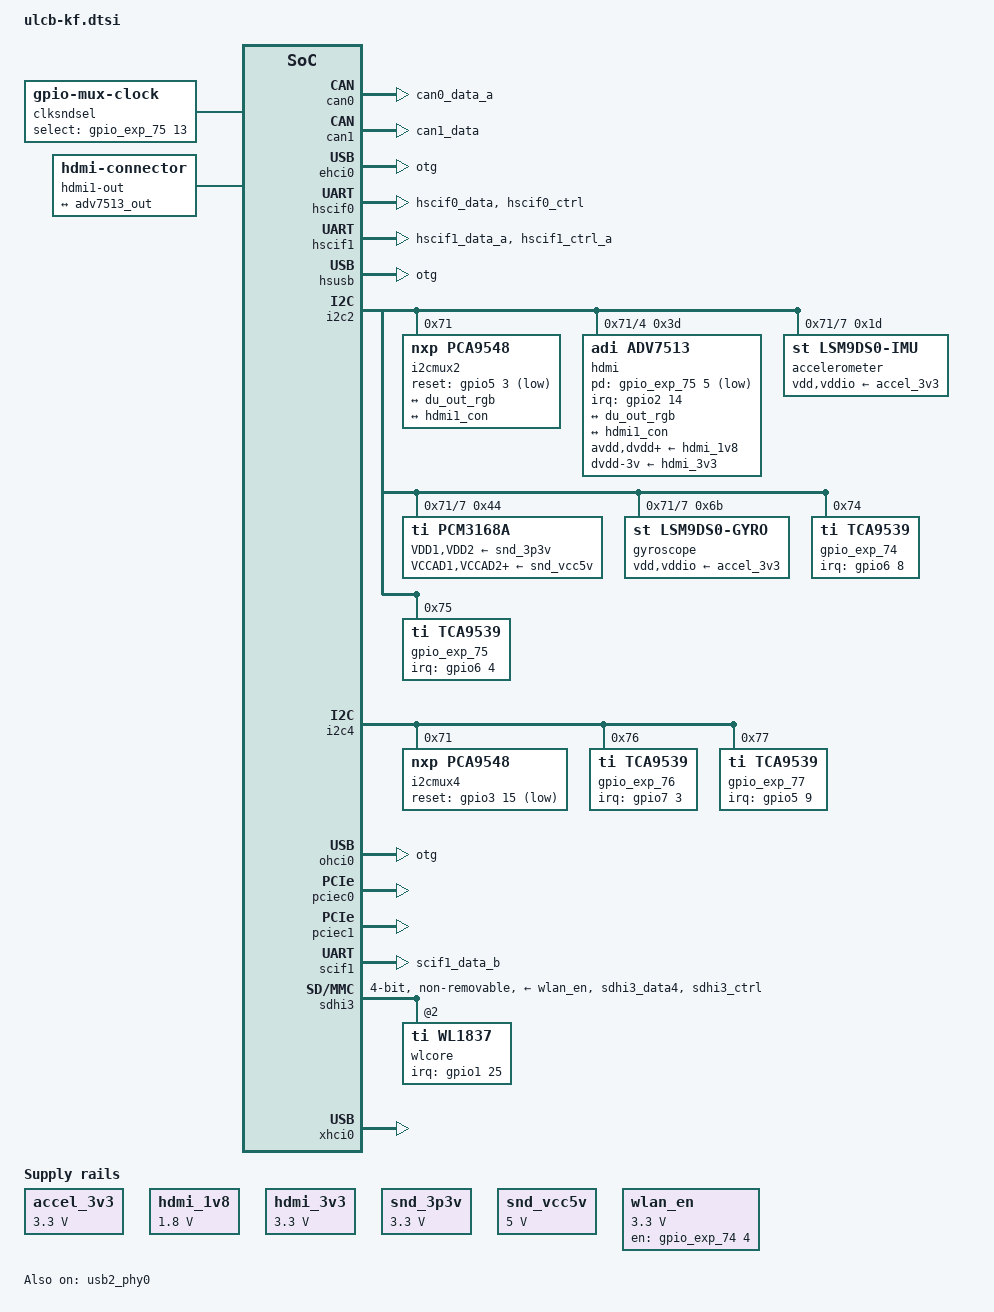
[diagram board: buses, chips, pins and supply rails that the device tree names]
// SPDX-License-Identifier: GPL-2.0
/*
 * Device Tree Source for the Kingfisher (ULCB extension) board
 *
 * Copyright (C) 2017 Renesas Electronics Corp.
 * Copyright (C) 2017 Cogent Embedded, Inc.
 */

/ {
	aliases {
		serial1 = &hscif0;
		serial2 = &scif1;
		serial3 = &hscif1;
		mmc2 = &sdhi3;
	};

	clksndsel: clksndsel {
		#clock-cells = <0>;
		compatible = "gpio-mux-clock";
		clocks = <&cs2000>, <&audio_clk_a>; /* clk8snd, clksnd */
		select-gpios = <&gpio_exp_75 13 GPIO_ACTIVE_HIGH>;
	};

	hdmi1-out {
		compatible = "hdmi-connector";
		type = "a";

		port {
			hdmi1_con: endpoint {
				remote-endpoint = <&adv7513_out>;
			};
		};
	};

	accel_3v3: regulator-acc-3v3 {
		compatible = "regulator-fixed";
		regulator-name = "accel-3v3";
		regulator-min-microvolt = <3300000>;
		regulator-max-microvolt = <3300000>;
	};

	hdmi_1v8: regulator-hdmi-1v8 {
		compatible = "regulator-fixed";
		regulator-name = "hdmi-1v8";
		regulator-min-microvolt = <1800000>;
		regulator-max-microvolt = <1800000>;
	};

	hdmi_3v3: regulator-hdmi-3v3 {
		compatible = "regulator-fixed";
		regulator-name = "hdmi-3v3";
		regulator-min-microvolt = <3300000>;
		regulator-max-microvolt = <3300000>;
	};

	snd_3p3v: regulator-snd_3p3v {
		compatible = "regulator-fixed";
		regulator-name = "snd-3.3v";
		regulator-min-microvolt = <3300000>;
		regulator-max-microvolt = <3300000>;
	};

	snd_vcc5v: regulator-snd_vcc5v {
		compatible = "regulator-fixed";
		regulator-name = "snd-vcc5v";
		regulator-min-microvolt = <5000000>;
		regulator-max-microvolt = <5000000>;
	};

	wlan_en: regulator-wlan_en {
		compatible = "regulator-fixed";
		regulator-name = "wlan-en-regulator";

		regulator-min-microvolt = <3300000>;
		regulator-max-microvolt = <3300000>;

		gpio = <&gpio_exp_74 4 GPIO_ACTIVE_HIGH>;
		startup-delay-us = <70000>;
		enable-active-high;
	};
};

&can0 {
	pinctrl-0 = <&can0_pins>;
	pinctrl-names = "default";
	status = "okay";
};

&can1 {
	pinctrl-0 = <&can1_pins>;
	pinctrl-names = "default";
	status = "okay";
};

&du {
	ports {
		port@0 {
			du_out_rgb: endpoint {
				remote-endpoint = <&adv7513_in>;
			};
		};
	};
};

&ehci0 {
	dr_mode = "otg";
	status = "okay";
};

&hscif0 {
	pinctrl-0 = <&hscif0_pins>;
	pinctrl-names = "default";
	uart-has-rtscts;

	status = "okay";
};

&hscif1 {
	pinctrl-0 = <&hscif1_pins>;
	pinctrl-names = "default";
	uart-has-rtscts;

	status = "okay";
};

&hsusb {
	dr_mode = "otg";
	status = "okay";
};

&i2c2 {
	i2cmux2: i2c-mux@71 {
		compatible = "nxp,pca9548";
		#address-cells = <1>;
		#size-cells = <0>;
		reg = <0x71>;
		reset-gpios = <&gpio5 3 GPIO_ACTIVE_LOW>;

		/* HDMIoSDA, HDMIoSCL */
		i2c@4 {
			#address-cells = <1>;
			#size-cells = <0>;
			reg = <4>;

			hdmi@3d {
				compatible = "adi,adv7513";
				reg = <0x3d>;

				pinctrl-0 = <&hdmi1_pins>;
				pinctrl-names = "default";

				interrupt-parent = <&gpio2>;
				interrupts = <14 IRQ_TYPE_LEVEL_LOW>;

				clocks = <&cs2000>;
				clock-names = "cec";

				pd-gpios = <&gpio_exp_75 5 GPIO_ACTIVE_LOW>;

				avdd-supply = <&hdmi_1v8>;
				dvdd-supply = <&hdmi_1v8>;
				pvdd-supply = <&hdmi_1v8>;
				dvdd-3v-supply = <&hdmi_3v3>;
				bgvdd-supply = <&hdmi_1v8>;

				adi,input-depth = <8>;
				adi,input-colorspace = "rgb";
				adi,input-clock = "1x";

				ports {
					#address-cells = <1>;
					#size-cells = <0>;

					port@0 {
						reg = <0>;
						adv7513_in: endpoint {
							remote-endpoint = <&du_out_rgb>;
						};
					};

					port@1 {
						reg = <1>;
						adv7513_out: endpoint {
							remote-endpoint = <&hdmi1_con>;
						};
					};
				};
			};
		};

		/* Audio_SDA, Audio_SCL */
		i2c@7 {
			#address-cells = <1>;
			#size-cells = <0>;
			reg = <7>;

			accelerometer@1d {
				compatible = "st,lsm9ds0-imu";
				reg = <0x1d>;

				vdd-supply = <&accel_3v3>;
				vddio-supply = <&accel_3v3>;
			};

			pcm3168a: audio-codec@44 {
				#sound-dai-cells = <0>;
				compatible = "ti,pcm3168a";
				reg = <0x44>;
				clocks = <&clksndsel>;
				clock-names = "scki";

				VDD1-supply = <&snd_3p3v>;
				VDD2-supply = <&snd_3p3v>;
				VCCAD1-supply = <&snd_vcc5v>;
				VCCAD2-supply = <&snd_vcc5v>;
				VCCDA1-supply = <&snd_vcc5v>;
				VCCDA2-supply = <&snd_vcc5v>;
			};

			gyroscope@6b {
				compatible = "st,lsm9ds0-gyro";
				reg = <0x6b>;

				vdd-supply = <&accel_3v3>;
				vddio-supply = <&accel_3v3>;
			};
		};
	};

	/* U11 */
	gpio_exp_74: gpio@74 {
		compatible = "ti,tca9539";
		reg = <0x74>;
		gpio-controller;
		#gpio-cells = <2>;
		interrupt-controller;
		interrupt-parent = <&gpio6>;
		interrupts = <8 IRQ_TYPE_EDGE_FALLING>;

		audio-out-off-hog {
			gpio-hog;
			gpios = <0 GPIO_ACTIVE_HIGH>; /* P00 */
			output-high;
			line-name = "Audio_Out_OFF";
		};

		hub-pwen-hog {
			gpio-hog;
			gpios = <6 GPIO_ACTIVE_HIGH>;
			output-high;
			line-name = "HUB pwen";
		};

		hub-rst-hog {
			gpio-hog;
			gpios = <7 GPIO_ACTIVE_HIGH>;
			output-high;
			line-name = "HUB rst";
		};

		otg-extlpn-hog {
			gpio-hog;
			gpios = <9 GPIO_ACTIVE_HIGH>;
			output-high;
			line-name = "OTG EXTLPn";
		};

		otg-offvbusn-hog {
			gpio-hog;
			gpios = <8 GPIO_ACTIVE_HIGH>;
			output-low;
			line-name = "OTG OFFVBUSn";
		};

		sd-wifi-mux-hog {
			gpio-hog;
			gpios = <5 GPIO_ACTIVE_HIGH>;
			output-low;	/* Connect WL1837 */
			line-name = "SD WiFi mux";
		};

		snd-rst-hog {
			gpio-hog;
			gpios = <15 GPIO_ACTIVE_HIGH>; /* P17 */
			output-high;
			line-name = "SND_RST";
		};
	};

	/* U5 */
	gpio_exp_75: gpio@75 {
		compatible = "ti,tca9539";
		reg = <0x75>;
		gpio-controller;
		#gpio-cells = <2>;
		interrupt-controller;
		interrupt-parent = <&gpio6>;
		interrupts = <4 IRQ_TYPE_EDGE_FALLING>;
	};
};

&i2c4 {
	i2cmux4: i2c-mux@71 {
		compatible = "nxp,pca9548";
		#address-cells = <1>;
		#size-cells = <0>;
		reg = <0x71>;
		reset-gpios = <&gpio3 15 GPIO_ACTIVE_LOW>;
	};

	gpio_exp_76: gpio@76 {
		compatible = "ti,tca9539";
		reg = <0x76>;
		gpio-controller;
		#gpio-cells = <2>;
		interrupt-controller;
		interrupt-parent = <&gpio7>;
		interrupts = <3 IRQ_TYPE_EDGE_FALLING>;
	};

	gpio_exp_77: gpio@77 {
		compatible = "ti,tca9539";
		reg = <0x77>;
		gpio-controller;
		#gpio-cells = <2>;
		interrupt-controller;
		interrupt-parent = <&gpio5>;
		interrupts = <9 IRQ_TYPE_EDGE_FALLING>;
	};
};

&ohci0 {
	dr_mode = "otg";
	status = "okay";
};

&pcie_bus_clk {
	clock-frequency = <100000000>;
};

&pciec0 {
	status = "okay";
};

&pciec1 {
	status = "okay";
};

&pfc {
	can0_pins: can0 {
		groups = "can0_data_a";
		function = "can0";
	};

	can1_pins: can1 {
		groups = "can1_data";
		function = "can1";
	};

	hdmi1_pins: hdmi1 {
		adv7513-interrupt {
			pins = "GP_2_14";
			bias-pull-up;
		};

		du {
			groups = "du_rgb888", "du_sync", "du_clk_out_0",
				 "du_disp";
			function = "du";
		};
	};

	hscif0_pins: hscif0 {
		groups = "hscif0_data", "hscif0_ctrl";
		function = "hscif0";
	};

	hscif1_pins: hscif1 {
		groups = "hscif1_data_a", "hscif1_ctrl_a";
		function = "hscif1";
	};

	scif1_pins: scif1 {
		groups = "scif1_data_b";
		function = "scif1";
	};

	sdhi3_pins: sdhi3 {
		groups = "sdhi3_data4", "sdhi3_ctrl";
		function = "sdhi3";
		power-source = <3300>;
	};

	sound_pcm_pins: sound-pcm {
		groups = "ssi349_ctrl", "ssi3_data", "ssi4_data";
		function = "ssi";
	};

	usb0_pins: usb0 {
		groups = "usb0";
		function = "usb0";
	};
};

&rcar_sound {
	pinctrl-0 = <&sound_pins
		     &sound_clk_pins
		     &sound_pcm_pins>;
};

&scif1 {
	pinctrl-0 = <&scif1_pins>;
	pinctrl-names = "default";

	status = "okay";
};

&sdhi3 {
	pinctrl-0 = <&sdhi3_pins>;
	pinctrl-names = "default";

	vmmc-supply = <&wlan_en>;
	vqmmc-supply = <&wlan_en>;
	bus-width = <4>;
	no-1-8-v;
	non-removable;
	cap-power-off-card;
	keep-power-in-suspend;
	max-frequency = <26000000>;
	status = "okay";

	#address-cells = <1>;
	#size-cells = <0>;
	wlcore: wlcore@2 {
		compatible = "ti,wl1837";
		reg = <2>;
		interrupt-parent = <&gpio1>;
		interrupts = <25 IRQ_TYPE_EDGE_FALLING>;
	};
};

&ssi4 {
	shared-pin;
};

&usb2_phy0 {
	pinctrl-0 = <&usb0_pins>;
	pinctrl-names = "default";

	status = "okay";
};

&xhci0 {
	status = "okay";
};

/*
 * For sound-test.
 *
 * We can switch Audio Card for testing
 * see also ulcb.dtsi
 *
 * #include "ulcb-kf-simple-audio-card.dtsi"
 * #include "ulcb-kf-simple-audio-card-mix+split.dtsi"
 * #include "ulcb-kf-audio-graph-card.dtsi"
 * #include "ulcb-kf-audio-graph-card-mix+split.dtsi"
 * #include "ulcb-kf-audio-graph-card2-mix+split.dtsi"
 */
#include "ulcb-kf-audio-graph-card2.dtsi"
